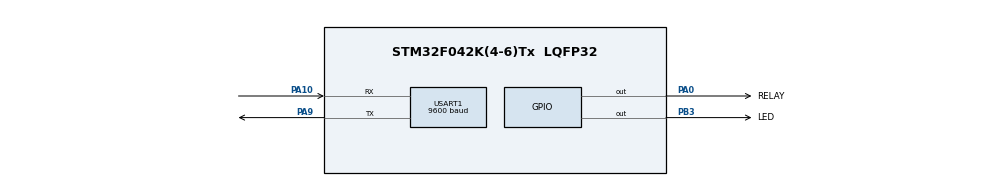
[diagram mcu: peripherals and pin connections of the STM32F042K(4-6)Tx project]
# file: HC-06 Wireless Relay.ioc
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Mcu.Family=STM32F0
PA10.Mode=Asynchronous
USART1.BaudRate=9600
PA0.GPIO_Label=RELAY
Mcu.Name=STM32F042K(4-6)Tx
PA0.Signal=GPIO_Output
PB3.Signal=GPIO_Output
Mcu.Package=LQFP32
ProjectManager.StackSize=0x400
USART1.VirtualMode-Asynchronous=VM_ASYNC
PA9.Mode=Asynchronous
PA10.Signal=USART1_RX
ProjectManager.HeapSize=0x200
ProjectManager.TargetToolchain=STM32CubeIDE
PA9.Signal=USART1_TX
board=custom
PB3.GPIO_Label=LED

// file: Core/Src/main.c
/* USER CODE BEGIN Header */
/**
  ******************************************************************************
  * @file           : main.c
  * @brief          : Main program body
  ******************************************************************************
  * @attention
  *
  * <h2><center>&copy; Copyright (c) 2021 STMicroelectronics.
  * All rights reserved.</center></h2>
  *
  * This software component is licensed by ST under BSD 3-Clause license,
  * the "License"; You may not use this file except in compliance with the
  * License. You may obtain a copy of the License at:
  *                        opensource.org/licenses/BSD-3-Clause
  *
  ******************************************************************************
  */
/* USER CODE END Header */
#include "main.h"

/* USER CODE BEGIN PM */
#define STRMAX 128
uint8_t buf = 0;
uint8_t string[STRMAX] = { 0 };
uint16_t StrCounter = 0;

/* USER CODE END PM */

UART_HandleTypeDef huart1;

void SystemClock_Config(void);
static void MX_GPIO_Init(void);
static void MX_USART1_UART_Init(void);

int main(void)
{

  /* MCU Configuration--------------------------------------------------------*/

  /* Reset of all peripherals, Initializes the Flash interface and the Systick. */
  HAL_Init();

  /* Configure the system clock */
  SystemClock_Config();

  /* Initialize all configured peripherals */
  MX_GPIO_Init();
  MX_USART1_UART_Init();
  /* USER CODE BEGIN 2 */
  uint8_t GUItougle=0;
  uint8_t GUImode=0;
  /* USER CODE END 2 */

  /* Infinite loop */
  while (1)
  {

    /* USER CODE BEGIN 3 */
	  	  if(HAL_UART_Receive(&huart1, &buf, 1, 0)== HAL_OK) {
	  		  if(GUItougle == 1){
					if(GUImode == 0){
						HAL_UART_Transmit(&huart1, "  [\x1b[42m \x1b[49m] LED\r", 20, -1);
						HAL_GPIO_WritePin(LED_GPIO_Port, LED_Pin, GPIO_PIN_SET);
						HAL_GPIO_WritePin(RELAY_GPIO_Port, RELAY_Pin, GPIO_PIN_SET);
						GUImode = 1;
					} else {
						HAL_UART_Transmit(&huart1, "  [\x1b[41m \x1b[49m] LED\r", 20, -1);
						HAL_GPIO_WritePin(LED_GPIO_Port, LED_Pin, GPIO_PIN_RESET);
						HAL_GPIO_WritePin(RELAY_GPIO_Port, RELAY_Pin, GPIO_PIN_RESET);
						GUImode = 0;
					}

	  		  } else {

				  if(buf == 127){
					  if(StrCounter != 0){
						  uint8_t briefly[3] = {8, 32, 8};
						  HAL_UART_Transmit(&huart1, &briefly, 3, -1);
						  string[--StrCounter] = 0;
					  }
				  } else {
					  HAL_UART_Transmit(&huart1, &buf, 1, -1);
					  string[StrCounter] = buf;
					  StrCounter++;
				  }

				  if(buf == 13){
	//	  	  		  StrCounter--;
	//	  	  		  char text[128] = {0};
	//		  		  sprintf(text, "\r\nText is: %s\r\n", string);
	//		  		  HAL_UART_Transmit(&huart1, text, strlen(text), -1);

					  if(memcmp(string, "1", 1) == 0){
						HAL_UART_Transmit(&huart1, "\r\nLED ON\r\n", 11, -1);
						HAL_GPIO_WritePin(LED_GPIO_Port, LED_Pin, GPIO_PIN_SET);
						HAL_GPIO_WritePin(RELAY_GPIO_Port, RELAY_Pin, GPIO_PIN_SET);

					  } else if(memcmp(string, "0", 1) == 0){
						HAL_UART_Transmit(&huart1, "\r\nLED OFF\r\n", 12, -1);
						HAL_GPIO_WritePin(LED_GPIO_Port, LED_Pin, GPIO_PIN_RESET);
						HAL_GPIO_WritePin(RELAY_GPIO_Port, RELAY_Pin, GPIO_PIN_RESET);

					  } else if(memcmp(string, "GUI", 3) == 0){
						GUItougle=1;
					  }

						  // Очистка массива
					  for(uint16_t k = 0; k < STRMAX; k++){
						  string[k] = 0;
					  }
					  StrCounter = 0;
				  }
				  buf = 0;
	  		  }
	  	  }

  }
  /* USER CODE END 3 */
}

void SystemClock_Config(void)
{
  RCC_OscInitTypeDef RCC_OscInitStruct = {0};
  RCC_ClkInitTypeDef RCC_ClkInitStruct = {0};
  RCC_PeriphCLKInitTypeDef PeriphClkInit = {0};

  /** Initializes the RCC Oscillators according to the specified parameters
  * in the RCC_OscInitTypeDef structure.
  */
  RCC_OscInitStruct.OscillatorType = RCC_OSCILLATORTYPE_HSI;
  RCC_OscInitStruct.HSIState = RCC_HSI_ON;
  RCC_OscInitStruct.HSICalibrationValue = RCC_HSICALIBRATION_DEFAULT;
  RCC_OscInitStruct.PLL.PLLState = RCC_PLL_NONE;
  if (HAL_RCC_OscConfig(&RCC_OscInitStruct) != HAL_OK)
  {
    Error_Handler();
  }
  /** Initializes the CPU, AHB and APB buses clocks
  */
  RCC_ClkInitStruct.ClockType = RCC_CLOCKTYPE_HCLK|RCC_CLOCKTYPE_SYSCLK
                              |RCC_CLOCKTYPE_PCLK1;
  RCC_ClkInitStruct.SYSCLKSource = RCC_SYSCLKSOURCE_HSI;
  RCC_ClkInitStruct.AHBCLKDivider = RCC_SYSCLK_DIV1;
  RCC_ClkInitStruct.APB1CLKDivider = RCC_HCLK_DIV1;

  if (HAL_RCC_ClockConfig(&RCC_ClkInitStruct, FLASH_LATENCY_0) != HAL_OK)
  {
    Error_Handler();
  }
  PeriphClkInit.PeriphClockSelection = RCC_PERIPHCLK_USART1;
  PeriphClkInit.Usart1ClockSelection = RCC_USART1CLKSOURCE_PCLK1;
  if (HAL_RCCEx_PeriphCLKConfig(&PeriphClkInit) != HAL_OK)
  {
    Error_Handler();
  }
}

static void MX_USART1_UART_Init(void)
{

  huart1.Instance = USART1;
  huart1.Init.BaudRate = 9600;
  huart1.Init.WordLength = UART_WORDLENGTH_8B;
  huart1.Init.StopBits = UART_STOPBITS_1;
  huart1.Init.Parity = UART_PARITY_NONE;
  huart1.Init.Mode = UART_MODE_TX_RX;
  huart1.Init.HwFlowCtl = UART_HWCONTROL_NONE;
  huart1.Init.OverSampling = UART_OVERSAMPLING_16;
  huart1.Init.OneBitSampling = UART_ONE_BIT_SAMPLE_DISABLE;
  huart1.AdvancedInit.AdvFeatureInit = UART_ADVFEATURE_NO_INIT;
  if (HAL_UART_Init(&huart1) != HAL_OK)
  {
    Error_Handler();
  }

}

static void MX_GPIO_Init(void)
{
  GPIO_InitTypeDef GPIO_InitStruct = {0};

  /* GPIO Ports Clock Enable */
  __HAL_RCC_GPIOA_CLK_ENABLE();
  __HAL_RCC_GPIOB_CLK_ENABLE();

  /*Configure GPIO pin Output Level */
  HAL_GPIO_WritePin(RELAY_GPIO_Port, RELAY_Pin, GPIO_PIN_RESET);

  /*Configure GPIO pin Output Level */
  HAL_GPIO_WritePin(LED_GPIO_Port, LED_Pin, GPIO_PIN_RESET);

  /*Configure GPIO pin : RELAY_Pin */
  GPIO_InitStruct.Pin = RELAY_Pin;
  GPIO_InitStruct.Mode = GPIO_MODE_OUTPUT_PP;
  GPIO_InitStruct.Pull = GPIO_NOPULL;
  GPIO_InitStruct.Speed = GPIO_SPEED_FREQ_LOW;
  HAL_GPIO_Init(RELAY_GPIO_Port, &GPIO_InitStruct);

  /*Configure GPIO pin : LED_Pin */
  GPIO_InitStruct.Pin = LED_Pin;
  GPIO_InitStruct.Mode = GPIO_MODE_OUTPUT_PP;
  GPIO_InitStruct.Pull = GPIO_NOPULL;
  GPIO_InitStruct.Speed = GPIO_SPEED_FREQ_LOW;
  HAL_GPIO_Init(LED_GPIO_Port, &GPIO_InitStruct);

}

void Error_Handler(void)
{
  __disable_irq();
  while (1)
  {
  }
}

/************************ (C) COPYRIGHT STMicroelectronics *****END OF FILE****/
